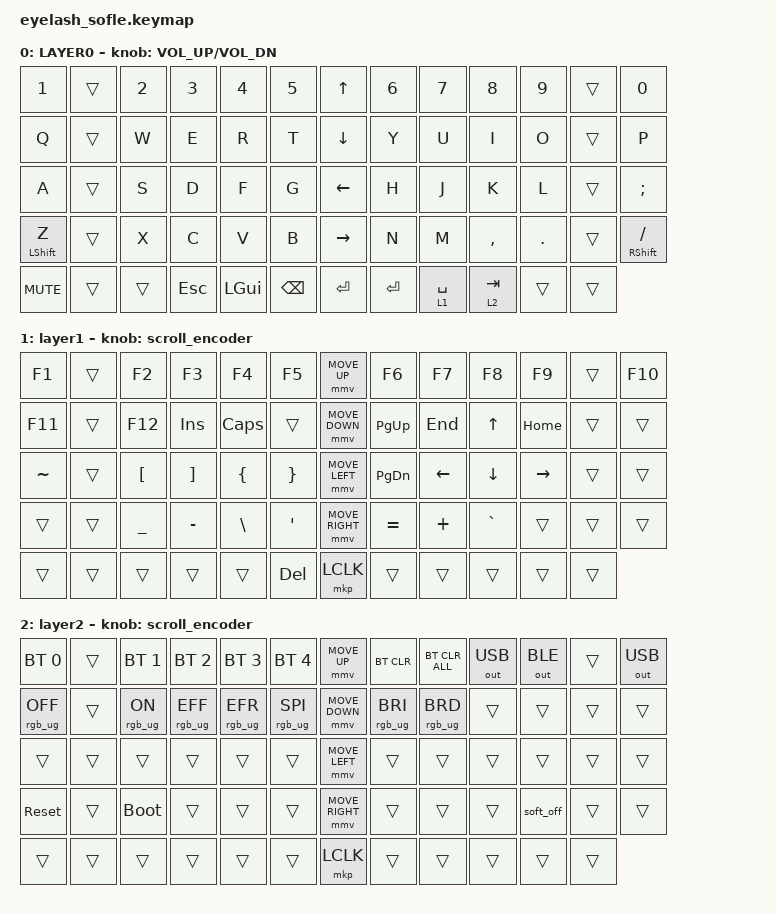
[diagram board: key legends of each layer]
#define ZMK_POINTING_DEFAULT_MOVE_VAL 1200  // 600
#define ZMK_POINTING_DEFAULT_SCRL_VAL 25   // 10

#include <input/processors.dtsi>
#include <zephyr/dt-bindings/input/input-event-codes.h>
#include <behaviors.dtsi>
#include <dt-bindings/zmk/bt.h>
#include <dt-bindings/zmk/keys.h>
#include <dt-bindings/zmk/outputs.h>
#include <dt-bindings/zmk/pointing.h>
#include <dt-bindings/zmk/rgb.h>

&mmv_input_listener { input-processors = <&zip_xy_scaler 2 1>; };

&msc_input_listener { input-processors = <&zip_scroll_scaler 2 1>; };

&msc {
    acceleration-exponent = <1>;      // 0
    time-to-max-speed-ms = <100>;       // 300
    delay-ms = <0>;                   // 0
};

&mmv {
    time-to-max-speed-ms = <500>;
    acceleration-exponent = <1>;
    trigger-period-ms = <16>;
};

&soft_off { hold-time-ms = <2000>; };

/ {
    scroll_encoder: scroll_encoder {
        compatible = "zmk,behavior-sensor-rotate";
        #sensor-binding-cells = <0>;
        bindings = <&msc SCRL_DOWN>, <&msc SCRL_UP>;

        tap-ms = <100>;
    };

    behaviors {
    };

    combos {
        compatible = "zmk,combos";

        softoff {
            bindings = <&soft_off>;
            key-positions = <14 28 40>;
        };
    };

    keymap {
        compatible = "zmk,keymap";

        layer0 {
            bindings = <
&kp N1       &trans  &kp N2  &kp N3   &kp N4        &kp N5           &kp UP_ARROW     &kp N6     &kp N7       &kp N8     &kp N9   &trans  &kp N0
&kp Q        &trans  &kp W   &kp E    &kp R         &kp T            &kp DOWN_ARROW   &kp Y      &kp U        &kp I      &kp O    &trans  &kp P
&kp A        &trans  &kp S   &kp D    &kp F         &kp G            &kp LEFT_ARROW   &kp H      &kp J        &kp K      &kp L    &trans  &kp SEMI
&mt LSHFT Z  &trans  &kp X   &kp C    &kp V         &kp B            &kp RIGHT_ARROW  &kp N      &kp M        &kp COMMA  &kp DOT  &trans  &mt RIGHT_SHIFT FSLH
&kp C_MUTE   &trans  &trans  &kp ESC  &kp LEFT_GUI  &kp BACKSPACE    &kp ENTER        &kp ENTER  &lt 1 SPACE  &lt 2 TAB  &trans   &trans
            >;

            sensor-bindings = <&inc_dec_kp C_VOLUME_UP C_VOL_DN>;
            display-name = "LAYER0";
        };

        layer_1 {
            bindings = <
&kp F1     &trans  &kp F2            &kp F3             &kp F4    &kp F5        &mmv MOVE_UP     &kp F6     &kp F7    &kp F8     &kp F9     &trans  &kp F10
&kp F11    &trans  &kp F12           &kp INSERT         &kp CAPS  &trans        &mmv MOVE_DOWN   &kp PG_UP  &kp END   &kp UP     &kp HOME   &trans  &trans
&kp TILDE  &trans  &kp LEFT_BRACKET  &kp RIGHT_BRACKET  &kp LBRC  &kp RBRC      &mmv MOVE_LEFT   &kp PG_DN  &kp LEFT  &kp DOWN   &kp RIGHT  &trans  &trans
&trans     &trans  &kp UNDER         &kp MINUS          &kp BSLH  &kp APOS      &mmv MOVE_RIGHT  &kp EQUAL  &kp PLUS  &kp GRAVE  &trans     &trans  &trans
&trans     &trans  &trans            &trans             &trans    &kp DELETE    &mkp LCLK        &trans     &trans    &trans     &trans     &trans
            >;

            display-name = "layer1";
            sensor-bindings = <&scroll_encoder>;
        };

        layer_2 {
            bindings = <
&bt BT_SEL 0     &trans  &bt BT_SEL 1    &bt BT_SEL 2     &bt BT_SEL 3     &bt BT_SEL 4       &mmv MOVE_UP     &bt BT_CLR       &bt BT_CLR_ALL   &out OUT_USB  &out OUT_BLE  &trans  &out OUT_USB
&rgb_ug RGB_OFF  &trans  &rgb_ug RGB_ON  &rgb_ug RGB_EFF  &rgb_ug RGB_EFR  &rgb_ug RGB_SPI    &mmv MOVE_DOWN   &rgb_ug RGB_BRI  &rgb_ug RGB_BRD  &trans        &trans        &trans  &trans
&trans           &trans  &trans          &trans           &trans           &trans             &mmv MOVE_LEFT   &trans           &trans           &trans        &trans        &trans  &trans
&sys_reset       &trans  &bootloader     &trans           &trans           &trans             &mmv MOVE_RIGHT  &trans           &trans           &trans        &soft_off     &trans  &trans
&trans           &trans  &trans          &trans           &trans           &trans             &mkp LCLK        &trans           &trans           &trans        &trans        &trans
            >;

            display-name = "layer2";
            sensor-bindings = <&scroll_encoder>;
        };
    };
};
